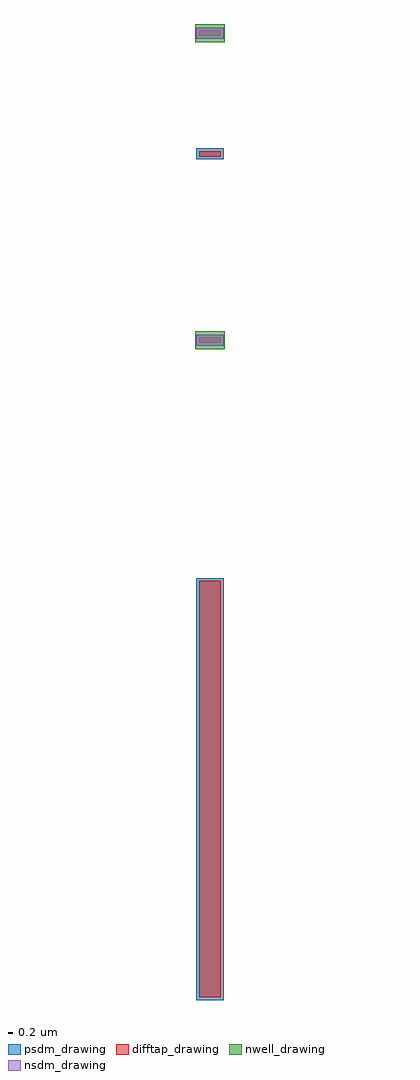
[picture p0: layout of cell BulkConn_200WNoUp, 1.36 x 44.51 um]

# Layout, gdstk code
import gdstk
lib = gdstk.Library(unit=1e-6, precision=1e-09)
def R(c, l, rs):  # rectangles x0, y0, x1, y1
    for r in rs: c.add(gdstk.rectangle(r[:2], r[2:], *l))
nwell_drawing = (64, 20)
difftap_drawing = (65, 20)
nsdm_drawing = (93, 44)
psdm_drawing = (94, 20)

bulkconn_200wnoup = lib.new_cell('BulkConn_200WNoUp')
R(bulkconn_200wnoup, nwell_drawing, [(-0.18,-0.42,1.18,0.42), (-0.18,13.58,1.18,14.42)])
R(bulkconn_200wnoup, difftap_drawing, [(0,-29.96,1,-10.975), (0,-0.125,1,0.125), (0,8.375,1,8.625), (0,13.875,1,14.125)])
R(bulkconn_200wnoup, nsdm_drawing, [(-0.125,-0.25,1.125,0.25), (-0.125,13.75,1.125,14.25)])
R(bulkconn_200wnoup, psdm_drawing, [(-0.125,-30.085,1.125,-10.85), (-0.125,8.25,1.125,8.75)])

lib.write_gds('BulkConn_200WNoUp.gds')
